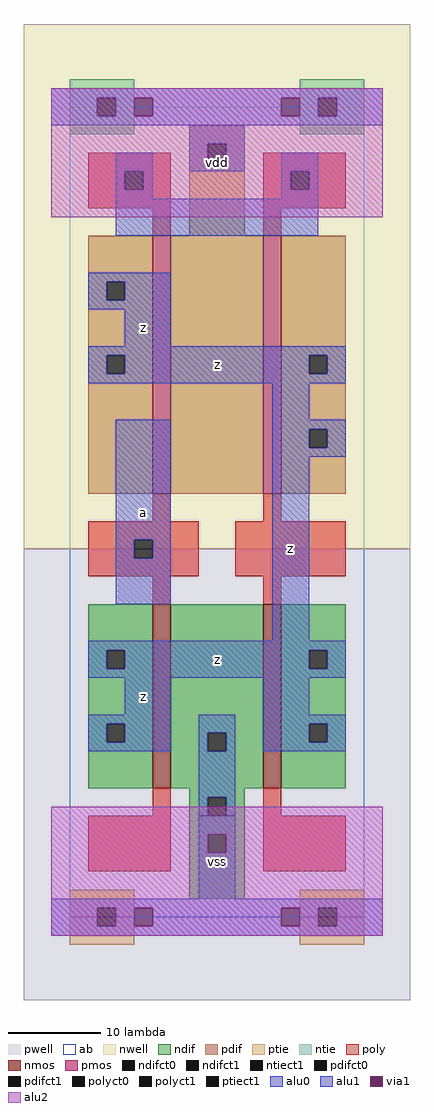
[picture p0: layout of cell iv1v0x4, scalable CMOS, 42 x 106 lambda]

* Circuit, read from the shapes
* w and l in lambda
.subckt iv1v0x4 a vdd vss z
M1 vss a z vss nfet w=20 l=2 m=2
M2 vdd a z vdd pfet w=28 l=2 m=2
.ends

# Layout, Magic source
magic
tech scmos
<< ab >>
rect 0 0 32 88
<< nwell >>
rect -5 40 37 97
<< pwell >>
rect -5 -9 37 40
<< poly >>
rect 2 81 11 83
rect 2 79 6 81
rect 8 79 11 81
rect 2 77 11 79
rect 9 74 11 77
rect 21 81 30 83
rect 21 79 24 81
rect 26 79 30 81
rect 21 77 30 79
rect 21 74 23 77
rect 9 43 11 46
rect 21 43 23 46
rect 2 41 14 43
rect 2 39 7 41
rect 9 39 14 41
rect 2 37 14 39
rect 18 37 30 43
rect 9 34 11 37
rect 21 34 23 37
rect 9 11 11 14
rect 2 5 11 11
rect 21 11 23 14
rect 21 5 30 11
<< ndif >>
rect 2 29 9 34
rect 2 27 4 29
rect 6 27 9 29
rect 2 21 9 27
rect 2 19 4 21
rect 6 19 9 21
rect 2 14 9 19
rect 11 20 21 34
rect 11 18 15 20
rect 17 18 21 20
rect 11 14 21 18
rect 23 29 30 34
rect 23 27 26 29
rect 28 27 30 29
rect 23 21 30 27
rect 23 19 26 21
rect 28 19 30 21
rect 23 14 30 19
rect 13 13 19 14
rect 13 11 15 13
rect 17 11 19 13
rect 13 2 19 11
<< pdif >>
rect 13 84 19 86
rect 13 82 15 84
rect 17 82 19 84
rect 13 74 19 82
rect 2 69 9 74
rect 2 67 4 69
rect 6 67 9 69
rect 2 61 9 67
rect 2 59 4 61
rect 6 59 9 61
rect 2 46 9 59
rect 11 46 21 74
rect 23 61 30 74
rect 23 59 26 61
rect 28 59 30 61
rect 23 53 30 59
rect 23 51 26 53
rect 28 51 30 53
rect 23 46 30 51
<< alu1 >>
rect -2 89 34 90
rect -2 87 3 89
rect 5 87 7 89
rect 9 87 23 89
rect 25 87 27 89
rect 29 87 34 89
rect -2 86 34 87
rect 2 69 11 70
rect 2 67 4 69
rect 6 67 11 69
rect 2 66 11 67
rect 6 62 11 66
rect 2 61 30 62
rect 2 59 4 61
rect 6 59 26 61
rect 28 59 30 61
rect 2 58 30 59
rect 22 54 26 58
rect 5 41 11 54
rect 5 39 7 41
rect 9 39 11 41
rect 5 34 11 39
rect 22 53 30 54
rect 22 51 26 53
rect 28 51 30 53
rect 22 50 30 51
rect 22 30 26 50
rect 2 29 30 30
rect 2 27 4 29
rect 6 27 26 29
rect 28 27 30 29
rect 2 26 30 27
rect 6 22 11 26
rect 21 22 26 26
rect 2 21 11 22
rect 2 19 4 21
rect 6 19 11 21
rect 2 18 11 19
rect 21 21 30 22
rect 21 19 26 21
rect 28 19 30 21
rect 21 18 30 19
rect 14 9 18 11
rect 14 7 15 9
rect 17 7 18 9
rect 14 2 18 7
rect -2 1 34 2
rect -2 -1 3 1
rect 5 -1 7 1
rect 9 -1 23 1
rect 25 -1 27 1
rect 29 -1 34 1
rect -2 -2 34 -1
<< alu2 >>
rect -2 89 34 90
rect -2 87 7 89
rect 9 87 23 89
rect 25 87 34 89
rect -2 76 34 87
rect -2 9 34 12
rect -2 7 15 9
rect 17 7 34 9
rect -2 1 34 7
rect -2 -1 7 1
rect 9 -1 23 1
rect 25 -1 34 1
rect -2 -2 34 -1
<< ptie >>
rect 0 1 7 3
rect 0 -1 3 1
rect 5 -1 7 1
rect 0 -3 7 -1
rect 25 1 32 3
rect 25 -1 27 1
rect 29 -1 32 1
rect 25 -3 32 -1
<< ntie >>
rect 0 89 7 91
rect 0 87 3 89
rect 5 87 7 89
rect 0 85 7 87
rect 25 89 32 91
rect 25 87 27 89
rect 29 87 32 89
rect 25 85 32 87
<< nmos >>
rect 9 14 11 34
rect 21 14 23 34
<< pmos >>
rect 9 46 11 74
rect 21 46 23 74
<< polyct0 >>
rect 6 79 8 81
rect 24 79 26 81
<< polyct1 >>
rect 7 39 9 41
<< ndifct0 >>
rect 15 18 17 20
rect 15 11 17 13
<< ndifct1 >>
rect 4 27 6 29
rect 4 19 6 21
rect 26 27 28 29
rect 26 19 28 21
<< ntiect1 >>
rect 3 87 5 89
rect 27 87 29 89
<< ptiect1 >>
rect 3 -1 5 1
rect 27 -1 29 1
<< pdifct0 >>
rect 15 82 17 84
<< pdifct1 >>
rect 4 67 6 69
rect 4 59 6 61
rect 26 59 28 61
rect 26 51 28 53
<< alu0 >>
rect 13 84 19 86
rect 5 81 9 83
rect 13 82 15 84
rect 17 82 19 84
rect 13 81 19 82
rect 23 81 27 83
rect 5 79 6 81
rect 8 79 9 81
rect 5 78 9 79
rect 23 79 24 81
rect 26 79 27 81
rect 23 78 27 79
rect 5 74 27 78
rect 14 20 18 22
rect 14 18 15 20
rect 17 18 18 20
rect 14 13 18 18
rect 14 11 15 13
rect 17 11 18 13
<< via1 >>
rect 7 87 9 89
rect 23 87 25 89
rect 15 7 17 9
rect 7 -1 9 1
rect 23 -1 25 1
<< labels >>
rlabel alu1 8 24 8 24 6 z
rlabel alu1 8 44 8 44 6 a
rlabel alu1 8 64 8 64 6 z
rlabel alu1 16 28 16 28 6 z
rlabel alu1 16 60 16 60 6 z
rlabel alu1 24 40 24 40 6 z
rlabel alu2 16 6 16 6 6 vss
rlabel alu2 16 82 16 82 6 vdd
<< end >>
